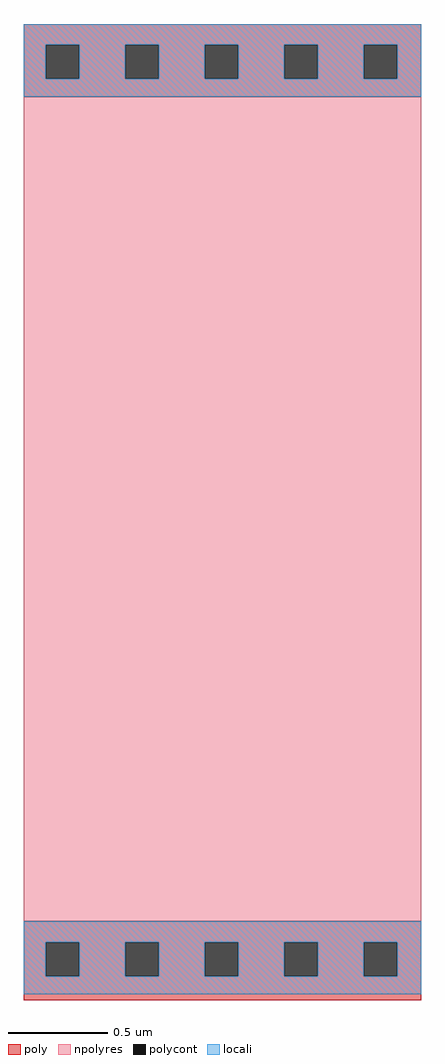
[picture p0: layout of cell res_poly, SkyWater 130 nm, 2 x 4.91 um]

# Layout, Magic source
magic
tech sky130A
magscale 1 2
<< poly >>
rect 0 955 400 976
rect 0 921 22 955
rect 56 921 102 955
rect 136 921 182 955
rect 216 921 262 955
rect 296 921 342 955
rect 376 921 400 955
rect 0 903 400 921
rect 0 52 400 73
rect 0 18 22 52
rect 56 18 102 52
rect 136 18 182 52
rect 216 18 262 52
rect 296 18 342 52
rect 376 18 400 52
rect 0 -6 400 18
<< polycont >>
rect 22 921 56 955
rect 102 921 136 955
rect 182 921 216 955
rect 262 921 296 955
rect 342 921 376 955
rect 22 18 56 52
rect 102 18 136 52
rect 182 18 216 52
rect 262 18 296 52
rect 342 18 376 52
<< npolyres >>
rect 0 73 400 903
<< locali >>
rect 0 955 400 976
rect 0 921 22 955
rect 56 921 102 955
rect 136 921 182 955
rect 216 921 262 955
rect 296 921 342 955
rect 376 921 400 955
rect 0 903 400 921
rect 0 52 400 73
rect 0 18 22 52
rect 56 18 102 52
rect 136 18 182 52
rect 216 18 262 52
rect 296 18 342 52
rect 376 18 400 52
rect 0 0 400 18
<< end >>
